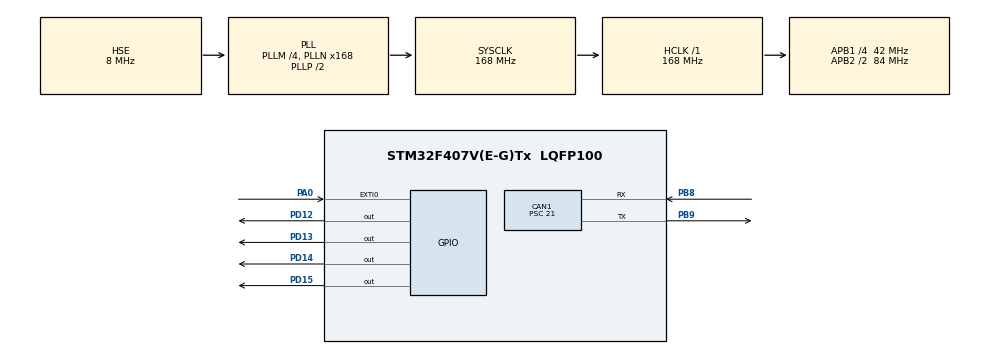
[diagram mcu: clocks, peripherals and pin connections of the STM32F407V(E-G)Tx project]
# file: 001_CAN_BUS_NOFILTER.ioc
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CAN1.BS1=CAN_BS1_10TQ
CAN1.BS2=CAN_BS2_5TQ
CAN1.CalculateBaudRate=125000
CAN1.CalculateTimeBit=8000.00
CAN1.CalculateTimeQuantum=500.0
CAN1.Prescaler=21
Mcu.Family=STM32F4
Mcu.Name=STM32F407V(E-G)Tx
Mcu.Package=LQFP100
NVIC.CAN1_RX0_IRQn=true\:0\:1\:false\:false\:true\:true\:true
NVIC.EXTI0_IRQn=true\:0\:0\:false\:false\:true\:true\:true
NVIC.PriorityGroup=NVIC_PRIORITYGROUP_0
PA0-WKUP.Signal=GPXTI0
PB8.Mode=CAN_Activate
PB8.Signal=CAN1_RX
PB9.Mode=CAN_Activate
PB9.Signal=CAN1_TX
PD12.Signal=GPIO_Output
PD13.Signal=GPIO_Output
PD14.Signal=GPIO_Output
PD15.Signal=GPIO_Output
PH0-OSC_IN.Mode=HSE-External-Oscillator
PH0-OSC_IN.Signal=RCC_OSC_IN
PH1-OSC_OUT.Mode=HSE-External-Oscillator
PH1-OSC_OUT.Signal=RCC_OSC_OUT
ProjectManager.HeapSize=0x200
ProjectManager.StackSize=0x400
ProjectManager.TargetToolchain=TrueSTUDIO
RCC.48MHZClocksFreq_Value=84000000
RCC.AHBFreq_Value=168000000
RCC.APB1CLKDivider=RCC_HCLK_DIV4
RCC.APB1Freq_Value=42000000
RCC.APB1TimFreq_Value=84000000
RCC.APB2CLKDivider=RCC_HCLK_DIV2
RCC.APB2Freq_Value=84000000
RCC.APB2TimFreq_Value=168000000
RCC.CortexFreq_Value=168000000
RCC.HCLKFreq_Value=168000000
RCC.HSE_VALUE=8000000
RCC.HSI_VALUE=16000000
RCC.LSE_VALUE=32768
RCC.PLLM=4
RCC.PLLN=168
RCC.PLLSourceVirtual=RCC_PLLSOURCE_HSE
RCC.SYSCLKFreq_VALUE=168000000
RCC.SYSCLKSource=RCC_SYSCLKSOURCE_PLLCLK
RCC.VCOOutputFreq_Value=336000000
board=custom

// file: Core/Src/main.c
/* USER CODE BEGIN Header */
/**
  ******************************************************************************
  * @file           : main.c
  * @brief          : Main program body
  ******************************************************************************
  * @attention
  *
  * <h2><center>&copy; Copyright (c) 2021 STMicroelectronics.
  * All rights reserved.</center></h2>
  *
  * This software component is licensed by ST under BSD 3-Clause license,
  * the "License"; You may not use this file except in compliance with the
  * License. You may obtain a copy of the License at:
  *                        opensource.org/licenses/BSD-3-Clause
  *
  ******************************************************************************
  */
/* USER CODE END Header */
#include "main.h"

CAN_HandleTypeDef hcan1;

CAN_TxHeaderTypeDef pHeader;
CAN_RxHeaderTypeDef pRxHeader;

CAN_FilterTypeDef sFilterConfig;

uint32_t pTxMailbox;

void SystemClock_Config(void);
static void MX_GPIO_Init(void);
static void MX_CAN1_Init(void);

int main(void)
{

  /* MCU Configuration--------------------------------------------------------*/

  /* Reset of all peripherals, Initializes the Flash interface and the Systick. */
  HAL_Init();

  /* Configure the system clock */
  SystemClock_Config();

  /* Initialize all configured peripherals */
  MX_GPIO_Init();
  MX_CAN1_Init();
  /* USER CODE BEGIN 2 */
    // Start CAN communication
  HAL_CAN_Start(&hcan1);
    // Enable interrupts
  HAL_CAN_ActivateNotification(&hcan1, CAN_IT_RX_FIFO0_MSG_PENDING);
    // Set Transmit Parameters
  pHeader.DLC = 1;
  pHeader.IDE = CAN_ID_STD;
  pHeader.RTR = CAN_RTR_DATA;
  pHeader.StdId = 0x0156;
  // Set filter parameters
  sFilterConfig.FilterActivation = ENABLE;
  sFilterConfig.FilterBank = 0;
  sFilterConfig.FilterFIFOAssignment = CAN_FilterFIFO0;
  sFilterConfig.FilterIdHigh = 0x0155 << 5;
  sFilterConfig.FilterIdLow = 0x0000;
  sFilterConfig.FilterMaskIdHigh = 0xFFFF << 5;
  sFilterConfig.FilterMaskIdLow = 0x0000;
  sFilterConfig.FilterMode = CAN_FILTERMODE_IDMASK;
  sFilterConfig.FilterScale = CAN_FILTERSCALE_32BIT;

  HAL_CAN_ConfigFilter(&hcan1, &sFilterConfig);

  /* USER CODE END 2 */

  /* Infinite loop */
  while (1)
  {

  }
}

void SystemClock_Config(void)
{
  RCC_OscInitTypeDef RCC_OscInitStruct = {0};
  RCC_ClkInitTypeDef RCC_ClkInitStruct = {0};

  /** Configure the main internal regulator output voltage
  */
  __HAL_RCC_PWR_CLK_ENABLE();
  __HAL_PWR_VOLTAGESCALING_CONFIG(PWR_REGULATOR_VOLTAGE_SCALE1);
  /** Initializes the RCC Oscillators according to the specified parameters
  * in the RCC_OscInitTypeDef structure.
  */
  RCC_OscInitStruct.OscillatorType = RCC_OSCILLATORTYPE_HSE;
  RCC_OscInitStruct.HSEState = RCC_HSE_ON;
  RCC_OscInitStruct.PLL.PLLState = RCC_PLL_ON;
  RCC_OscInitStruct.PLL.PLLSource = RCC_PLLSOURCE_HSE;
  RCC_OscInitStruct.PLL.PLLM = 4;
  RCC_OscInitStruct.PLL.PLLN = 168;
  RCC_OscInitStruct.PLL.PLLP = RCC_PLLP_DIV2;
  RCC_OscInitStruct.PLL.PLLQ = 4;
  if (HAL_RCC_OscConfig(&RCC_OscInitStruct) != HAL_OK)
  {
    Error_Handler();
  }
  /** Initializes the CPU, AHB and APB buses clocks
  */
  RCC_ClkInitStruct.ClockType = RCC_CLOCKTYPE_HCLK|RCC_CLOCKTYPE_SYSCLK
                              |RCC_CLOCKTYPE_PCLK1|RCC_CLOCKTYPE_PCLK2;
  RCC_ClkInitStruct.SYSCLKSource = RCC_SYSCLKSOURCE_PLLCLK;
  RCC_ClkInitStruct.AHBCLKDivider = RCC_SYSCLK_DIV1;
  RCC_ClkInitStruct.APB1CLKDivider = RCC_HCLK_DIV4;
  RCC_ClkInitStruct.APB2CLKDivider = RCC_HCLK_DIV2;

  if (HAL_RCC_ClockConfig(&RCC_ClkInitStruct, FLASH_LATENCY_5) != HAL_OK)
  {
    Error_Handler();
  }
}

static void MX_CAN1_Init(void)
{

  hcan1.Instance = CAN1;
  hcan1.Init.Prescaler = 21;
  hcan1.Init.Mode = CAN_MODE_NORMAL;
  hcan1.Init.SyncJumpWidth = CAN_SJW_1TQ;
  hcan1.Init.TimeSeg1 = CAN_BS1_10TQ;
  hcan1.Init.TimeSeg2 = CAN_BS2_5TQ;
  hcan1.Init.TimeTriggeredMode = DISABLE;
  hcan1.Init.AutoBusOff = DISABLE;
  hcan1.Init.AutoWakeUp = DISABLE;
  hcan1.Init.AutoRetransmission = DISABLE;
  hcan1.Init.ReceiveFifoLocked = DISABLE;
  hcan1.Init.TransmitFifoPriority = DISABLE;
  if (HAL_CAN_Init(&hcan1) != HAL_OK)
  {
    Error_Handler();
  }

}

static void MX_GPIO_Init(void)
{
  GPIO_InitTypeDef GPIO_InitStruct = {0};

  /* GPIO Ports Clock Enable */
  __HAL_RCC_GPIOH_CLK_ENABLE();
  __HAL_RCC_GPIOA_CLK_ENABLE();
  __HAL_RCC_GPIOD_CLK_ENABLE();
  __HAL_RCC_GPIOB_CLK_ENABLE();

  /*Configure GPIO pin Output Level */
  HAL_GPIO_WritePin(GPIOD, GPIO_PIN_12|GPIO_PIN_13|GPIO_PIN_14|GPIO_PIN_15, GPIO_PIN_RESET);

  /*Configure GPIO pin : PA0 */
  GPIO_InitStruct.Pin = GPIO_PIN_0;
  GPIO_InitStruct.Mode = GPIO_MODE_IT_RISING;
  GPIO_InitStruct.Pull = GPIO_NOPULL;
  HAL_GPIO_Init(GPIOA, &GPIO_InitStruct);

  /*Configure GPIO pins : PD12 PD13 PD14 PD15 */
  GPIO_InitStruct.Pin = GPIO_PIN_12|GPIO_PIN_13|GPIO_PIN_14|GPIO_PIN_15;
  GPIO_InitStruct.Mode = GPIO_MODE_OUTPUT_PP;
  GPIO_InitStruct.Pull = GPIO_NOPULL;
  GPIO_InitStruct.Speed = GPIO_SPEED_FREQ_LOW;
  HAL_GPIO_Init(GPIOD, &GPIO_InitStruct);

  /* EXTI interrupt init*/
  HAL_NVIC_SetPriority(EXTI0_IRQn, 0, 0);
  HAL_NVIC_EnableIRQ(EXTI0_IRQn);

}

void Error_Handler(void)
{
  __disable_irq();
  while (1)
  {
  }
}

/************************ (C) COPYRIGHT STMicroelectronics *****END OF FILE****/
